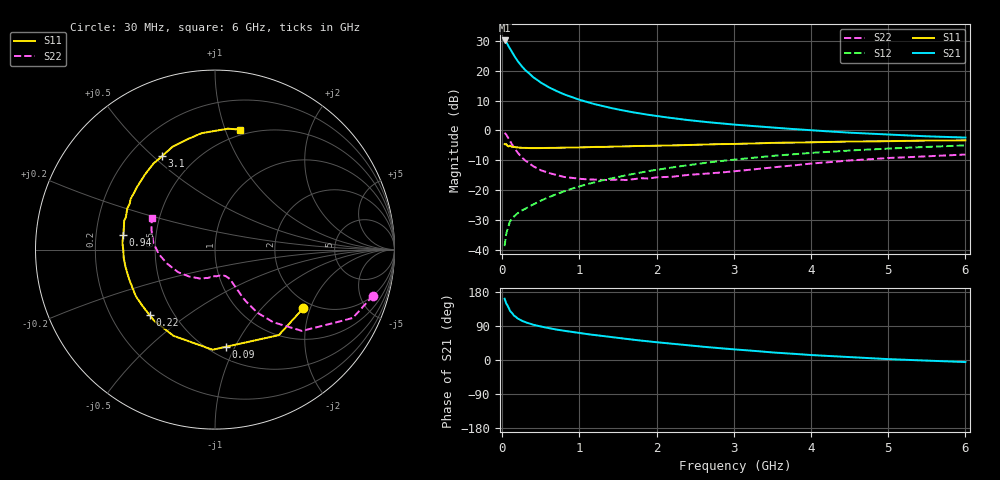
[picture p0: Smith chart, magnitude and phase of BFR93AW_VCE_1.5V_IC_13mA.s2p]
! Infineon Technologies  Discrete & RF Semiconductors
! BFR93AW
! VCE =  1.5 V,  IC =  13 mA
! Common Emitter S-Parameters:  Nov 2015
# GHz  S  MA  R  50
!  f  S11  S21  S12  S22
! GHz  MAG  ANG  MAG  ANG  MAG  ANG  MAG  ANG
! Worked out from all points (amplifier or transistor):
!   206 points, 30 MHz to 6 GHz, reference 50 ohm
!   highest |S21| = 30.2 dB at 30 MHz (marker M1)
!   |S21| within 3 dB of that: start of sweep to 106.4 MHz
!   unconditionally stable (mu >= 1): 630.5 MHz to 2.534 GHz
!   at 200 MHz: K = 0.58, MSG = 25.6 dB, |S12| = -27.8 dB
!   at 1.56 GHz: K = 1.07, MAG = 9.4 dB, |S12| = -15.3 dB
!   at 6 GHz: K = 0.95, MSG = 1.3 dB, |S12| = -5.0 dB
!   S11 on the Smith chart (normalised r, x): 30 MHz: 1.78, -1.79; 90 MHz: 0.60, -0.92; 220 MHz: 0.37, -0.37; 940 MHz: 0.32, +0.07; 3.1 GHz: 0.33, +0.53; 6 GHz: 0.45, +1.12
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0.03  0.5905 -33.6  32.53 161.7  0.0114 74.7  0.9175 -16.2
0.05  0.5946 -53.3  30.72 149.8  0.0181 69.5  0.857 -26.4
0.09  0.5449 -83.7  24.89 134.5  0.0273 58.3  0.6968 -39.0
0.1  0.558 -91.4  23.79 129.6  0.0297 56.6  0.6636 -43.1
0.15  0.5331 -115.7  18.27 117.3  0.0358 52.7  0.518 -51.3
0.2  0.5216 -130.4  14.64 109.4  0.0408 52.7  0.423 -56.1
0.22  0.5154 -134.9  13.6 107.4  0.0425 52.6  0.3958 -56.9
0.26  0.5112 -143.3  11.71 102.9  0.0457 52.9  0.3464 -58.7
0.3  0.512 -149.6  10.27 99.4  0.0486 54.3  0.3116 -59.9
0.4  0.5061 -160.9  7.847 93.0  0.0572 57.5  0.251 -60.8
0.5  0.5079 -168.9  6.363 88.0  0.0663 60.0  0.2147 -62.0
0.6  0.5105 -174.5  5.34 84.1  0.0756 61.3  0.1938 -62.5
0.7  0.511 -179.6  4.62 80.4  0.0852 62.7  0.1791 -63.8
0.8  0.517 175.9  4.052 77.1  0.0948 63.5  0.1656 -66.6
0.94  0.5175 170.9  3.487 73.0  0.1091 64.4  0.158 -68.6
1.04  0.521 167.4  3.167 70.0  0.119 64.6  0.153 -71.8
1.5  0.5396 154.9  2.251 58.2  0.1661 63.8  0.1497 -86.8
2.02  0.5565 141.8  1.734 46.4  0.2207 60.6  0.1638 -104.6
3.1  0.5982 119.7  1.229 26.6  0.3335 51.1  0.2123 -136.6
4.1  0.6366 102.5  0.989 12.0  0.428 40.1  0.2845 -166.3
5.1  0.664 88.8  0.843 1.5  0.5041 28.9  0.349 171.6
6  0.6825 78.4  0.761 -5.4  0.5619 19.6  0.3944 153.3
